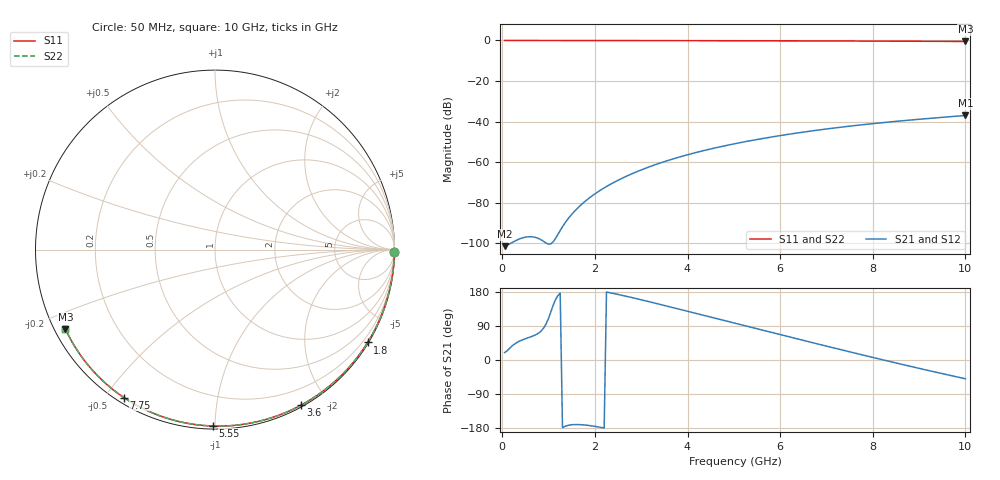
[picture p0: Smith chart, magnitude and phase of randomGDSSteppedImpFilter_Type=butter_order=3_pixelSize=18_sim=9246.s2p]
! freq	dB(S11)	phase(S11)	dB(S12)	phase(S12)
!  dB(S21)	phase(S21)	dB(S22)	phase(S22)
!S-par simulation data
#  GHz  S  DB  R 50
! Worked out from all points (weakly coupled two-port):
!   200 points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, 50 MHz to 10 GHz, reference 50 ohm
!   highest |S21| = -36.97 dB at 10 GHz (marker M1); lowest = -101.3 dB at 50 MHz (marker M2)
!   lowest |S11| = -0.5 dB at 10 GHz (marker M3), VSWR 34.38, Z = 1.54 - j12.4 ohm
!   |S11| at or under -10 dB: nowhere
!   |S22| runs from -0.5 to 0.0 dB; largest |S21 - S12| = 0
!   S11 on the Smith chart (normalised r, x): 50 MHz: open; 1.8 GHz: 0.03, -3.57; 3.6 GHz: 0.02, -1.70; 5.55 GHz: 0.02, -0.99; 7.75 GHz: 0.02, -0.56; 10 GHz: 0.03, -0.25
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0.05  -0.00 -0.9  -101.35 19.6  -101.35 19.6  -0.00 -0.9
0.45  -0.01 -8.0  -97.16 54.0  -97.16 54.0  -0.01 -8.0
0.9  -0.02 -15.8  -99.11 85.5  -99.11 85.5  -0.02 -15.8
1.3  -0.03 -22.8  -91.76 -178.5  -91.76 -178.5  -0.03 -22.8
1.75  -0.04 -30.5  -79.98 -171.2  -79.98 -171.2  -0.04 -30.5
1.8  -0.04 -31.3  -79.02 -171.8  -79.02 -171.8  -0.04 -31.3
1.95  -0.04 -33.9  -76.39 -174.2  -76.39 -174.2  -0.04 -33.9
2.1  -0.05 -36.4  -74.05 -177.2  -74.05 -177.2  -0.05 -36.4
2.3  -0.05 -39.8  -71.30 178.1  -71.30 178.1  -0.05 -39.8
2.5  -0.06 -43.1  -68.86 173.0  -68.86 173.0  -0.06 -43.1
2.9  -0.06 -49.7  -64.70 161.8  -64.70 161.8  -0.06 -49.7
3.4  -0.08 -57.8  -60.44 147.0  -60.44 147.0  -0.08 -57.8
3.6  -0.08 -61.0  -58.96 140.9  -58.96 140.9  -0.08 -61.0
4.3  -0.10 -72.0  -54.53 119.3  -54.53 119.3  -0.10 -72.0
5.05  -0.13 -83.4  -50.73 96.1  -50.73 96.1  -0.13 -83.4
5.55  -0.15 -90.7  -48.59 80.7  -48.59 80.7  -0.15 -90.7
6.1  -0.18 -98.7  -46.51 63.9  -46.51 63.9  -0.18 -98.7
6.7  -0.21 -107.1  -44.51 45.6  -44.51 45.6  -0.21 -107.1
7.75  -0.28 -121.6  -41.58 14.1  -41.58 14.1  -0.28 -121.6
8.35  -0.33 -129.7  -40.18 -3.5  -40.18 -3.5  -0.33 -129.7
9.2  -0.42 -141.2  -38.44 -27.7  -38.44 -27.7  -0.42 -141.2
10  -0.51 -152.0  -36.97 -49.5  -36.97 -49.5  -0.51 -152.0
